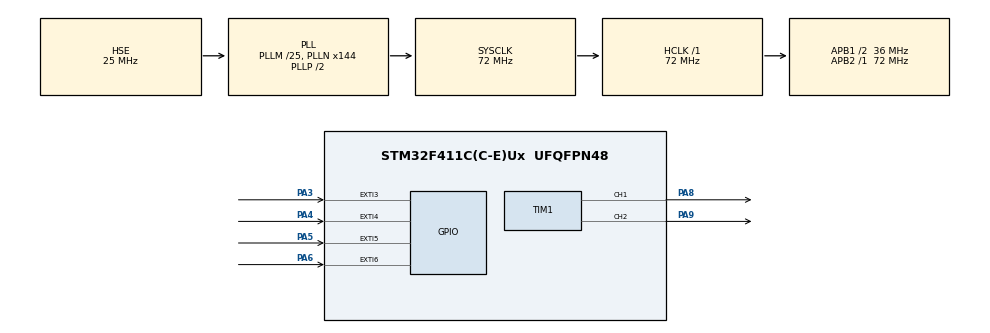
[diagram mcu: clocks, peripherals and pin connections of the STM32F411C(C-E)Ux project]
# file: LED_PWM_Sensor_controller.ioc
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Mcu.Family=STM32F4
Mcu.Name=STM32F411C(C-E)Ux
Mcu.Package=UFQFPN48
NVIC.EXTI3_IRQn=true\:0\:0\:false\:false\:true\:true\:true\:true
NVIC.EXTI4_IRQn=true\:0\:0\:false\:false\:true\:true\:true\:true
NVIC.EXTI9_5_IRQn=true\:0\:0\:false\:false\:true\:true\:true\:true
NVIC.PriorityGroup=NVIC_PRIORITYGROUP_4
NVIC.TIM1_UP_TIM10_IRQn=true\:0\:0\:false\:false\:true\:true\:true\:true
PA13.Mode=Serial_Wire
PA13.Signal=SYS_JTMS-SWDIO
PA14.Mode=Serial_Wire
PA14.Signal=SYS_JTCK-SWCLK
PA3.GPIO_PuPd=GPIO_PULLDOWN
PA3.Signal=GPXTI3
PA4.GPIO_PuPd=GPIO_PULLDOWN
PA4.Signal=GPXTI4
PA5.GPIO_PuPd=GPIO_PULLDOWN
PA5.Signal=GPXTI5
PA6.GPIO_PuPd=GPIO_PULLDOWN
PA6.Signal=GPXTI6
PA8.Signal=S_TIM1_CH1
PA9.Signal=S_TIM1_CH2
PH0\ -\ OSC_IN.Mode=HSE-External-Oscillator
PH0\ -\ OSC_IN.Signal=RCC_OSC_IN
PH1\ -\ OSC_OUT.Mode=HSE-External-Oscillator
PH1\ -\ OSC_OUT.Signal=RCC_OSC_OUT
ProjectManager.HeapSize=0x200
ProjectManager.StackSize=0x400
ProjectManager.TargetToolchain=STM32CubeIDE
RCC.48MHZClocksFreq_Value=36000000
RCC.AHBFreq_Value=72000000
RCC.APB1CLKDivider=RCC_HCLK_DIV2
RCC.APB1Freq_Value=36000000
RCC.APB1TimFreq_Value=72000000
RCC.APB2Freq_Value=72000000
RCC.APB2TimFreq_Value=72000000
RCC.CortexFreq_Value=72000000
RCC.HCLKFreq_Value=72000000
RCC.HSE_VALUE=25000000
RCC.HSI_VALUE=16000000
RCC.LSE_VALUE=32768
RCC.PLLM=25
RCC.PLLN=144
RCC.PLLSourceVirtual=RCC_PLLSOURCE_HSE
RCC.SYSCLKFreq_VALUE=72000000
RCC.SYSCLKSource=RCC_SYSCLKSOURCE_PLLCLK
RCC.VCOOutputFreq_Value=144000000
SH.S_TIM1_CH1.0=TIM1_CH1,PWM Generation1 CH1
SH.S_TIM1_CH2.0=TIM1_CH2,PWM Generation2 CH2
TIM1.Channel-PWM\ Generation1\ CH1=TIM_CHANNEL_1
TIM1.Channel-PWM\ Generation2\ CH2=TIM_CHANNEL_2
board=custom

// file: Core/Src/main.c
/* USER CODE BEGIN Header */
/**
 ******************************************************************************
 * @file           : main.c
 * @brief          : Main program body
 ******************************************************************************
 * @attention
 *
 * Copyright (c) 2025 STMicroelectronics.
 * All rights reserved.
 *
 * This software is licensed under terms that can be found in the LICENSE file
 * in the root directory of this software component.
 * If no LICENSE file comes with this software, it is provided AS-IS.
 *
 ******************************************************************************
 */
/* USER CODE END Header */
#include "main.h"

TIM_HandleTypeDef htim1;

void SystemClock_Config(void);
static void MX_GPIO_Init(void);
static void MX_TIM1_Init(void);
/* USER CODE BEGIN PFP */
void HAL_GPIO_EXTI_Callback(uint16_t GPIO_Pin);
void PWM_Start_Stop(void);
void PWM_Change_Start_Status(void);
void Enter_Sleep_Mode(void);
uint32_t Calculate_CCRx(uint8_t LED_mode);
/* USER CODE END PFP */

/* USER CODE BEGIN 0 */
const uint32_t MAX_ARR = 32767;
const uint32_t START_CCR1 = MAX_ARR;
const uint32_t START_CCR2 = 0;

const uint8_t PWM_LOW_MODE = 0;
const uint8_t PWM_MEDIUM_MODE = 50;
const uint8_t PWM_HIGHT_MODE = 100;

uint8_t PWM_start_status = 0;
uint8_t PWM_mode_counter = 0;

uint32_t CCR1_value = MAX_ARR;
uint32_t CCR2_value = 0;

uint8_t Bright = 100;

uint8_t LED_modes[4][2] = { { PWM_HIGHT_MODE, PWM_LOW_MODE }, { PWM_HIGHT_MODE,
		PWM_MEDIUM_MODE }, { PWM_MEDIUM_MODE, PWM_HIGHT_MODE }, { PWM_LOW_MODE,
		PWM_HIGHT_MODE } };

uint8_t LED_modes_length = sizeof(LED_modes) / sizeof(LED_modes[0]);

uint32_t Calculate_CCRx(uint8_t LED_mode) {
	return ((MAX_ARR * LED_mode) / 100) * Bright / 100;
}

void Enter_Sleep_Mode(void) {
	__HAL_PWR_CLEAR_FLAG(PWR_FLAG_WU);
	HAL_SuspendTick();
	HAL_PWR_EnterSTOPMode(PWR_LOWPOWERREGULATOR_ON, PWR_STOPENTRY_WFI);

	HAL_ResumeTick();
}

void CCRx_Update_Value(void) {
	TIM1->CCR1 = Calculate_CCRx(LED_modes[PWM_mode_counter][0]);
	TIM1->CCR2 = Calculate_CCRx(LED_modes[PWM_mode_counter][1]);
}

void PWM_Change_Start_Status(void) {
	PWM_start_status = PWM_start_status == 0 ? 1 : 0;
}

void PWM_Start_Stop(void) {
	if (PWM_start_status == 1) {
		HAL_TIM_PWM_Start(&htim1, TIM_CHANNEL_1);
		HAL_TIM_PWM_Start(&htim1, TIM_CHANNEL_2);
	} else {
		HAL_TIM_PWM_Stop(&htim1, TIM_CHANNEL_1);
		HAL_TIM_PWM_Stop(&htim1, TIM_CHANNEL_2);
		Enter_Sleep_Mode();
	}
}

void HAL_GPIO_EXTI_Callback(uint16_t GPIO_Pin) {
	switch (GPIO_Pin) {
	case GPIO_PIN_3:
		PWM_Change_Start_Status();
		PWM_Start_Stop();
		break;
	case GPIO_PIN_4:
		Bright = (Bright <= 20) ? 20 : (Bright - 20);
		CCRx_Update_Value();
		break;
	case GPIO_PIN_5:
		Bright = (Bright >= 100) ? 100 : (Bright + 20);
		CCRx_Update_Value();
		break;
	case GPIO_PIN_6:
		PWM_mode_counter = ((PWM_mode_counter + 1) % LED_modes_length);
		CCRx_Update_Value();
		break;
	}
}

/* USER CODE END 0 */

int main(void) {

	/* MCU Configuration--------------------------------------------------------*/

	/* Reset of all peripherals, Initializes the Flash interface and the Systick. */
	HAL_Init();

	/* Configure the system clock */
	SystemClock_Config();

	/* Initialize all configured peripherals */
	MX_GPIO_Init();
	MX_TIM1_Init();
	/* USER CODE BEGIN 2 */
	CCRx_Update_Value();

	/* USER CODE END 2 */

	/* Infinite loop */
	while (1) {

	}
}

void SystemClock_Config(void) {
	RCC_OscInitTypeDef RCC_OscInitStruct = { 0 };
	RCC_ClkInitTypeDef RCC_ClkInitStruct = { 0 };

	/** Configure the main internal regulator output voltage
	 */
	__HAL_RCC_PWR_CLK_ENABLE();
	__HAL_PWR_VOLTAGESCALING_CONFIG(PWR_REGULATOR_VOLTAGE_SCALE1);

	/** Initializes the RCC Oscillators according to the specified parameters
	 * in the RCC_OscInitTypeDef structure.
	 */
	RCC_OscInitStruct.OscillatorType = RCC_OSCILLATORTYPE_HSE;
	RCC_OscInitStruct.HSEState = RCC_HSE_ON;
	RCC_OscInitStruct.PLL.PLLState = RCC_PLL_ON;
	RCC_OscInitStruct.PLL.PLLSource = RCC_PLLSOURCE_HSE;
	RCC_OscInitStruct.PLL.PLLM = 25;
	RCC_OscInitStruct.PLL.PLLN = 144;
	RCC_OscInitStruct.PLL.PLLP = RCC_PLLP_DIV2;
	RCC_OscInitStruct.PLL.PLLQ = 4;
	if (HAL_RCC_OscConfig(&RCC_OscInitStruct) != HAL_OK) {
		Error_Handler();
	}

	/** Initializes the CPU, AHB and APB buses clocks
	 */
	RCC_ClkInitStruct.ClockType = RCC_CLOCKTYPE_HCLK | RCC_CLOCKTYPE_SYSCLK
			| RCC_CLOCKTYPE_PCLK1 | RCC_CLOCKTYPE_PCLK2;
	RCC_ClkInitStruct.SYSCLKSource = RCC_SYSCLKSOURCE_PLLCLK;
	RCC_ClkInitStruct.AHBCLKDivider = RCC_SYSCLK_DIV1;
	RCC_ClkInitStruct.APB1CLKDivider = RCC_HCLK_DIV2;
	RCC_ClkInitStruct.APB2CLKDivider = RCC_HCLK_DIV1;

	if (HAL_RCC_ClockConfig(&RCC_ClkInitStruct, FLASH_LATENCY_2) != HAL_OK) {
		Error_Handler();
	}
}

static void MX_TIM1_Init(void) {

	TIM_MasterConfigTypeDef sMasterConfig = { 0 };
	TIM_OC_InitTypeDef sConfigOC = { 0 };
	TIM_BreakDeadTimeConfigTypeDef sBreakDeadTimeConfig = { 0 };

	htim1.Instance = TIM1;
	htim1.Init.Prescaler = 0;
	htim1.Init.CounterMode = TIM_COUNTERMODE_UP;
	htim1.Init.Period = 65535;
	htim1.Init.ClockDivision = TIM_CLOCKDIVISION_DIV1;
	htim1.Init.RepetitionCounter = 0;
	htim1.Init.AutoReloadPreload = TIM_AUTORELOAD_PRELOAD_DISABLE;
	if (HAL_TIM_PWM_Init(&htim1) != HAL_OK) {
		Error_Handler();
	}
	sMasterConfig.MasterOutputTrigger = TIM_TRGO_RESET;
	sMasterConfig.MasterSlaveMode = TIM_MASTERSLAVEMODE_DISABLE;
	if (HAL_TIMEx_MasterConfigSynchronization(&htim1, &sMasterConfig)
			!= HAL_OK) {
		Error_Handler();
	}
	sConfigOC.OCMode = TIM_OCMODE_PWM1;
	sConfigOC.Pulse = 0;
	sConfigOC.OCPolarity = TIM_OCPOLARITY_HIGH;
	sConfigOC.OCNPolarity = TIM_OCNPOLARITY_HIGH;
	sConfigOC.OCFastMode = TIM_OCFAST_DISABLE;
	sConfigOC.OCIdleState = TIM_OCIDLESTATE_RESET;
	sConfigOC.OCNIdleState = TIM_OCNIDLESTATE_RESET;
	if (HAL_TIM_PWM_ConfigChannel(&htim1, &sConfigOC, TIM_CHANNEL_1)
			!= HAL_OK) {
		Error_Handler();
	}
	if (HAL_TIM_PWM_ConfigChannel(&htim1, &sConfigOC, TIM_CHANNEL_2)
			!= HAL_OK) {
		Error_Handler();
	}
	sBreakDeadTimeConfig.OffStateRunMode = TIM_OSSR_DISABLE;
	sBreakDeadTimeConfig.OffStateIDLEMode = TIM_OSSI_DISABLE;
	sBreakDeadTimeConfig.LockLevel = TIM_LOCKLEVEL_OFF;
	sBreakDeadTimeConfig.DeadTime = 0;
	sBreakDeadTimeConfig.BreakState = TIM_BREAK_DISABLE;
	sBreakDeadTimeConfig.BreakPolarity = TIM_BREAKPOLARITY_HIGH;
	sBreakDeadTimeConfig.AutomaticOutput = TIM_AUTOMATICOUTPUT_DISABLE;
	if (HAL_TIMEx_ConfigBreakDeadTime(&htim1, &sBreakDeadTimeConfig)
			!= HAL_OK) {
		Error_Handler();
	}
	HAL_TIM_MspPostInit(&htim1);

}

static void MX_GPIO_Init(void) {
	GPIO_InitTypeDef GPIO_InitStruct = { 0 };

	/* GPIO Ports Clock Enable */
	__HAL_RCC_GPIOH_CLK_ENABLE();
	__HAL_RCC_GPIOA_CLK_ENABLE();

	/*Configure GPIO pins : PA3 PA4 PA5 PA6 */
	GPIO_InitStruct.Pin = GPIO_PIN_3 | GPIO_PIN_4 | GPIO_PIN_5 | GPIO_PIN_6;
	GPIO_InitStruct.Mode = GPIO_MODE_IT_RISING;
	GPIO_InitStruct.Pull = GPIO_PULLDOWN;
	HAL_GPIO_Init(GPIOA, &GPIO_InitStruct);

	/* EXTI interrupt init*/
	HAL_NVIC_SetPriority(EXTI3_IRQn, 0, 0);
	HAL_NVIC_EnableIRQ(EXTI3_IRQn);

	HAL_NVIC_SetPriority(EXTI4_IRQn, 0, 0);
	HAL_NVIC_EnableIRQ(EXTI4_IRQn);

	HAL_NVIC_SetPriority(EXTI9_5_IRQn, 0, 0);
	HAL_NVIC_EnableIRQ(EXTI9_5_IRQn);

}

void Error_Handler(void) {
	__disable_irq();
	while (1) {
	}
}
